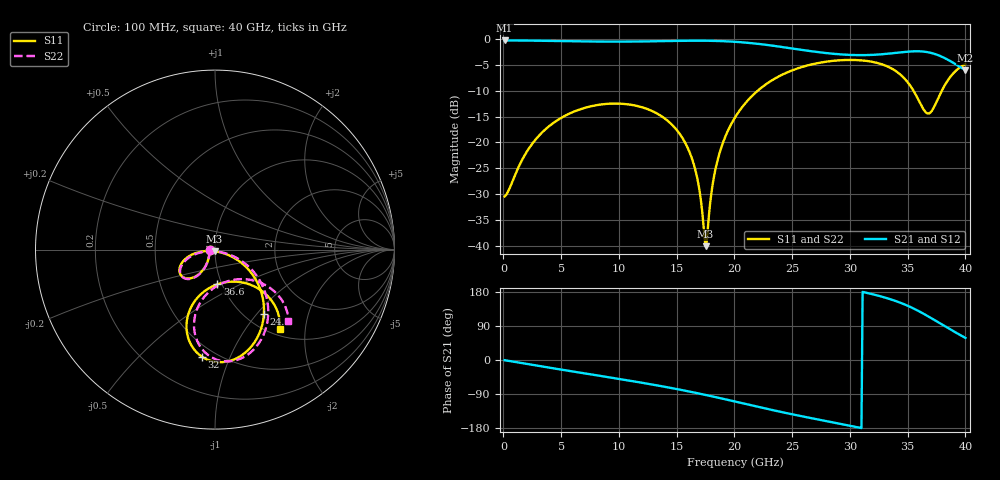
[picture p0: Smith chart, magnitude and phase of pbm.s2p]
! C_s8_ap600: physics-based via model (prototype), ports at the via
# Hz S RI R 50
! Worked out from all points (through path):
!   400 points, 100 MHz to 40 GHz, reference 50 ohm
!   highest |S21| = -0.26 dB at 100 MHz (marker M1); lowest = -6.0 dB at 40 GHz (marker M2)
!   group delay of S21, straight-line fit = 18.7 ps
!   lowest |S11| = -40.1 dB at 17.5 GHz (marker M3), VSWR 1.02, Z = 49.7 - j0.95 ohm
!   |S11| at or under -10 dB: start of sweep to 22.01 GHz; 35.5 GHz to 37.96 GHz (2.452 GHz wide, 6.68 % of centre)
!   |S22| runs from -40.1 to -4.0 dB; largest |S21 - S12| = 0
!   S11 on the Smith chart (normalised r, x): 100 MHz: 0.94, -0.01; 24.1 GHz: 1.21, -1.09; 32 GHz: 0.42, -0.79; 36.6 GHz: 0.95, -0.38; 40 GHz: 1.11, -1.46
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1e8  -0.0298 -0.00355  0.9702 -0.00871  0.9702 -0.00871  -0.0298 -0.00356
2.9e9  -0.0551 -0.0957  0.933 -0.247  0.933 -0.247  -0.0543 -0.0961
6.8e9  -0.1387 -0.16  0.7858 -0.5346  0.7858 -0.5346  -0.1355 -0.1628
1.03e10  -0.1954 -0.1329  0.5897 -0.7391  0.5897 -0.7391  -0.1913 -0.1387
1.34e10  -0.1765 -0.0635  0.3647 -0.8818  0.3647 -0.8818  -0.1739 -0.0704
1.51e10  -0.125 -0.0264  0.2132 -0.9373  0.2132 -0.9373  -0.1238 -0.0319
1.63e10  -0.0702 -0.0103  0.093 -0.9601  0.093 -0.9601  -0.0696 -0.0137
1.7e10  -0.032 -0.00765  0.0185 -0.9647  0.0185 -0.9647  -0.0316 -0.00926
1.75e10  -0.00255 -0.00955  -0.0362 -0.9635  -0.0362 -0.9635  -0.00207 -0.00972
1.8e10  0.0282 -0.0151  -0.0917 -0.958  -0.0917 -0.958  0.0289 -0.0136
1.84e10  0.0533 -0.0223  -0.1362 -0.9504  -0.1362 -0.9504  0.0544 -0.0195
1.91e10  0.0974 -0.0412  -0.2138 -0.93  -0.2138 -0.93  0.0995 -0.0358
2.01e10  0.1574 -0.0824  -0.3205 -0.8848  -0.3205 -0.8848  0.1619 -0.0732
2.41e10  0.2724 -0.3582  -0.6186 -0.5673  -0.6186 -0.5673  0.2967 -0.3384
2.67e10  0.2116 -0.5283  -0.6833 -0.3373  -0.6833 -0.3373  0.2516 -0.5105
3.2e10  -0.0738 -0.5961  -0.6991 0.0826  -0.6991 0.0826  -0.0186 -0.6003
3.34e10  -0.1406 -0.5154  -0.6862 0.2309  -0.6862 0.2309  -0.0905 -0.5264
3.51e10  -0.1424 -0.3412  -0.5955 0.468  -0.5955 0.468  -0.1074 -0.3537
3.66e10  0.0132 -0.1935  -0.3561 0.6618  -0.3561 0.6618  0.0334 -0.1907
3.71e10  0.0954 -0.1786  -0.2427 0.6902  -0.2427 0.6902  0.1138 -0.1669
3.8e10  0.24 -0.2164  -0.0349 0.6709  -0.0349 0.6709  0.2622 -0.1884
4e10  0.3595 -0.4448  0.2624 0.4256  0.2624 0.4256  0.4084 -0.4001
